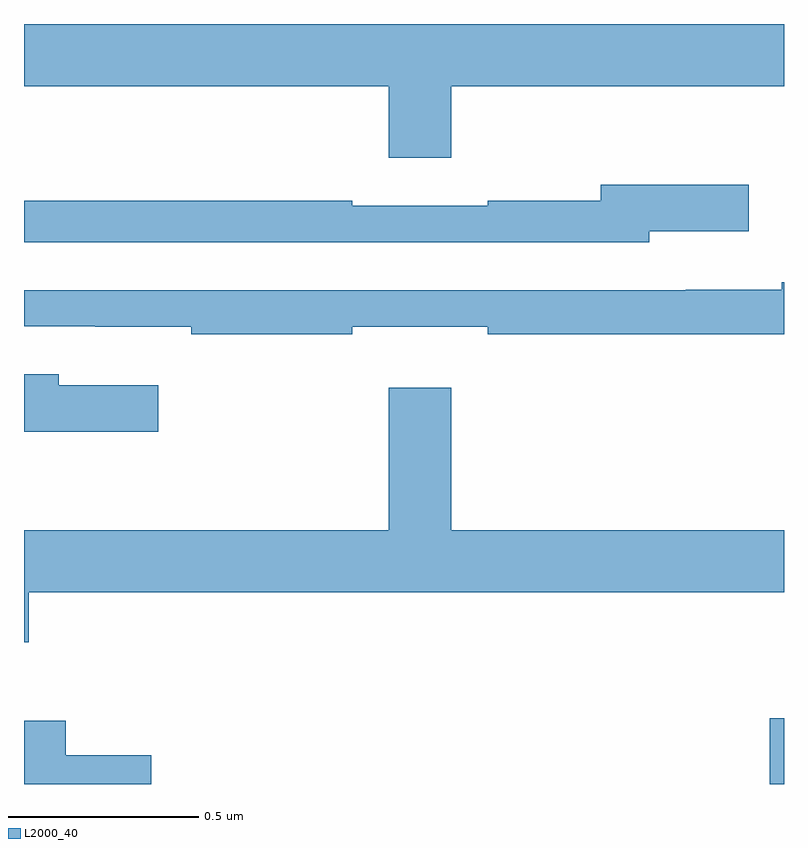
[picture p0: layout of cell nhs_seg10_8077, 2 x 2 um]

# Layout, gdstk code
import gdstk
lib = gdstk.Library(unit=1e-6, precision=1e-09)
def R(c, l, rs):  # rectangles x0, y0, x1, y1
    for r in rs: c.add(gdstk.rectangle(r[:2], r[2:], *l))
def P(c, l, *ps):  # polygons
    for p in ps: c.add(gdstk.Polygon(p, *l))
L2000_40 = (2000, 40)

nhs_seg10_8077 = lib.new_cell('nhs_seg10_8077')
R(nhs_seg10_8077, L2000_40, [(213.962,1278.5,214,1278.673)])
P(nhs_seg10_8077, L2000_40, [(213.124,1280.336),(214,1280.336),(214,1280.5),(212,1280.5),(212,1280.336),(212.96,1280.336),(212.96,1280.148),(213.124,1280.148)],
  [(213.646,1279.955),(213.907,1279.955),(213.907,1280.077),(213.518,1280.077),(213.518,1280.035),(213.22,1280.035),(213.22,1280.022),(212.864,1280.022),(212.864,1280.035),(212,1280.035),(212,1279.926),(213.646,1279.926)],
  [(212.864,1279.703),(213.22,1279.703),(213.22,1279.684),(214,1279.684),(214,1279.82),(213.994,1279.82),(213.994,1279.801),(213.742,1279.801),(213.742,1279.8),(212,1279.8),(212,1279.704),(212.188,1279.704),(212.188,1279.703),(212.44,1279.703),(212.44,1279.684),(212.864,1279.684)],
  [(212.353,1279.549),(212.092,1279.549),(212.092,1279.578),(212,1279.578),(212,1279.427),(212.353,1279.427)],
  [(212.012,1279.004),(214,1279.004),(214,1279.168),(213.124,1279.168),(213.124,1279.543),(212.96,1279.543),(212.96,1279.168),(212,1279.168),(212,1278.873),(212.012,1278.873)],
  [(212.335,1278.576),(212.11,1278.576),(212.11,1278.667),(212,1278.667),(212,1278.5),(212.335,1278.5)])

lib.write_gds('nhs_seg10_8077.gds')
